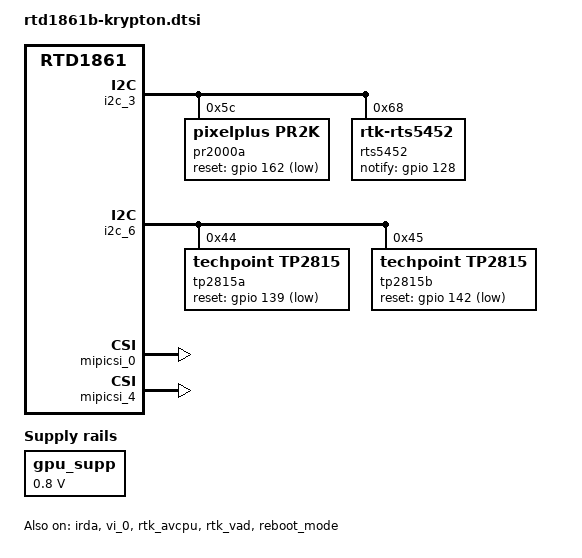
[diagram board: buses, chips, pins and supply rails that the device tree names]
// SPDX-License-Identifier: (GPL-2.0-or-later OR BSD-2-Clause)
/*
 * Realtek RTD1861B Krypton EVB
 *
 * Copyright (c) 2024 Realtek Semiconductor Corp.
 */

/dts-v1/;

#include <dt-bindings/thermal/thermal.h>
#include "rtd1861.dtsi"
#include "rtd1861b-krypton.rds.dtsi"

/ {
	chosen {
		bootargs = "earlycon=uart8250,mmio32,0x98007800 console=ttyS0,460800 8250.nr_uarts=11 8250.share_irqs=1 init=/init loglevel=8 max_loop=64 loop.max_part=7 firmware_class.path=/vendor/firmware/,/vendor/av_fw";
		stdout-path = "serial0:460800n8";
	};
};

&gpu {
	mali-supply = <&gpu_supp>;
	shadercores-supply = <&gpu_supp>;
	operating-points-v2 = <&gpu_opps>;
};

&i2c_3 {
	status = "okay";

	pr2000a: pr2000@5c {
		compatible = "pixelplus,pr2k";
		reg = <0x5c>;
		reset-gpios = <&gpio 162 GPIO_ACTIVE_LOW>;
		camera-fmt = <3>;
		bt-mode = <0>;
		cascade-mode = <0>;
	};

	rts5452@68 {
		compatible = "rtk-rts5452";
		reg = <0x68>;
		notify-gpios = <&gpio 128 GPIO_PULL_UP>;

		orientation-switch = <&usb1_u3phy>;
		mode-switch = <&usb1_u3phy>;
	};
};

&i2c_6 {
	status = "okay";

	tp2815a: tp2815@44 {
		compatible = "techpoint,tp2815";
		reg = <0x44>;
		reset-gpios = <&gpio 139 GPIO_ACTIVE_LOW>;
	};

	tp2815b: tp2815@45 {
		compatible = "techpoint,tp2815";
		reg = <0x45>;
		reset-gpios = <&gpio 142 GPIO_ACTIVE_LOW>;
	};
};

&irda {
	status = "okay";
};

&mipicsi_0 {
	status = "okay";
};

&mipicsi_4 {
	status = "okay";
};

&sdio {
	wifi-rst-gpios = <&gpio 51 GPIO_ACTIVE_HIGH>;
};

&usb1_u3phy {
	svid = <0xff01>;
};

&vi_0 {
	status = "okay";
};

&rtk_avcpu {
	status = "okay";
};

&{/} {
	gpu_supp: fixed-gpu {
		compatible = "regulator-fixed";
		regulator-name = "gpu";
		regulator-min-microvolt = <800000>;
		regulator-max-microvolt = <800000>;
	};

	gpu_opps: opp-table-gpu {
		compatible = "operating-points-v2", "operating-points-v2-mali";

		opp-405000000 {
			opp-hz = /bits/ 64 <405000000>;
			opp-hz-real = /bits/ 64 <405000000>;
			opp-microvolt = <800000>, <800000>;
			opp-suspend;
		};

		opp-540000000 {
			opp-hz = /bits/ 64 <540000000>;
			opp-hz-real = /bits/ 64 <540000000>;
			opp-microvolt = <800000>, <800000>;
		};

		opp-729000000 {
			opp-hz = /bits/ 64 <729000000>;
			opp-hz-real = /bits/ 64 <729000000>;
			opp-microvolt = <800000>, <800000>;
		};

		opp-810000000 {
			opp-hz = /bits/ 64 <810000000>;
			opp-hz-real = /bits/ 64 <810000000>;
			opp-microvolt = <800000>, <800000>;
		};
	};
};

&{/} {
	clk_scpu: clk-scpu {
		compatible = "realtek,rtd1625-scpu-clk";
		realtek,cc = <&cc>;
		#clock-cells = <0>;
	};

	cpu_opps: opp-table-cpu {
		compatible = "operating-points-v2";
		opp-shared;

		opp1200: opp-1200000000 {
			opp-hz = /bits/ 64 <1200000000>;
			opp-microvolt = <900000>;
			clock-latency-ns = <150000>;
			status = "okay";
		};

		opp1600: opp-1600000000 {
			opp-hz = /bits/ 64 <1600000000>;
			opp-microvolt = <1000000>;
			clock-latency-ns = <150000>;
			opp-suspend;
			status = "okay";
		};

		opp1800: opp-1800000000 {
			opp-hz = /bits/ 64 <1800000000>;
			opp-microvolt = <1050000>;
			clock-latency-ns = <150000>;
			status = "okay";
		};
	};
};

&cpu0 {
	clocks = <&clk_scpu>;
	cpu-supply = <&cpu_supp>;
	operating-points-v2 = <&cpu_opps>;
	#cooling-cells = <2>;
};

&cpu1 {
	clocks = <&clk_scpu>;
	cpu-supply = <&cpu_supp>;
	operating-points-v2 = <&cpu_opps>;
	#cooling-cells = <2>;
};

&cpu2 {
	clocks = <&clk_scpu>;
	cpu-supply = <&cpu_supp>;
	operating-points-v2 = <&cpu_opps>;
	#cooling-cells = <2>;
};

&cpu3 {
	clocks = <&clk_scpu>;
	cpu-supply = <&cpu_supp>;
	operating-points-v2 = <&cpu_opps>;
	#cooling-cells = <2>;
};

&sound {
	multi-ao = <1>;
	amic-bias = <1>;
	status = "okay";
};

&sound_compr {
	multi-ao = <1>;
	status = "okay";
};

&rtk_vad {
	status = "okay";
};

&reboot_mode {
	status = "okay";
};
